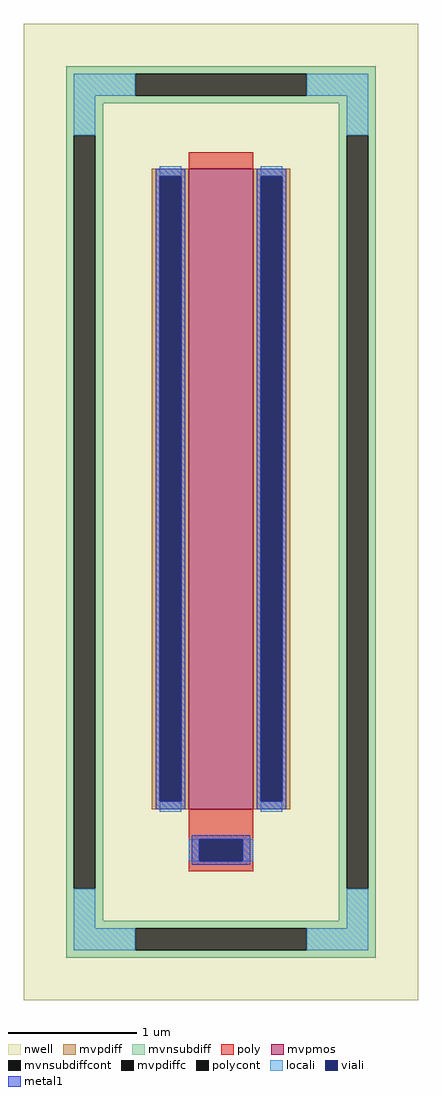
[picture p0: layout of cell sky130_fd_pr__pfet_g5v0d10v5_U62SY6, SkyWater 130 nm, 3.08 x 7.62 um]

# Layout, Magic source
magic
tech sky130A
magscale 1 2
<< nwell >>
rect -308 -762 308 762
<< mvpmos >>
rect -50 -464 50 536
<< mvpdiff >>
rect -108 524 -50 536
rect -108 -452 -96 524
rect -62 -452 -50 524
rect -108 -464 -50 -452
rect 50 524 108 536
rect 50 -452 62 524
rect 96 -452 108 524
rect 50 -464 108 -452
<< mvpdiffc >>
rect -96 -452 -62 524
rect 62 -452 96 524
<< mvnsubdiff >>
rect -242 684 242 696
rect -242 650 -134 684
rect 134 650 242 684
rect -242 638 242 650
rect -242 588 -184 638
rect -242 -588 -230 588
rect -196 -588 -184 588
rect 184 588 242 638
rect -242 -638 -184 -588
rect 184 -588 196 588
rect 230 -588 242 588
rect 184 -638 242 -588
rect -242 -650 242 -638
rect -242 -684 -134 -650
rect 134 -684 242 -650
rect -242 -696 242 -684
<< mvnsubdiffcont >>
rect -134 650 134 684
rect -230 -588 -196 588
rect 196 -588 230 588
rect -134 -684 134 -650
<< poly >>
rect -50 536 50 562
rect -50 -511 50 -464
rect -50 -545 -34 -511
rect 34 -545 50 -511
rect -50 -561 50 -545
<< polycont >>
rect -34 -545 34 -511
<< locali >>
rect -230 650 -134 684
rect 134 650 230 684
rect -230 588 -196 650
rect 196 588 230 650
rect -96 524 -62 540
rect -96 -468 -62 -452
rect 62 524 96 540
rect 62 -468 96 -452
rect -50 -545 -34 -511
rect 34 -545 50 -511
rect -230 -650 -196 -588
rect 196 -650 230 -588
rect -230 -684 -134 -650
rect 134 -684 230 -650
<< viali >>
rect -96 -452 -62 524
rect 62 -452 96 524
rect -34 -545 34 -511
<< metal1 >>
rect -102 524 -56 536
rect -102 -452 -96 524
rect -62 -452 -56 524
rect -102 -464 -56 -452
rect 56 524 102 536
rect 56 -452 62 524
rect 96 -452 102 524
rect 56 -464 102 -452
rect -46 -511 46 -505
rect -46 -545 -34 -511
rect 34 -545 46 -511
rect -46 -551 46 -545
<< properties >>
string FIXED_BBOX -213 -667 213 667
string gencell sky130_fd_pr__pfet_g5v0d10v5
string library sky130
string parameters w 5.0 l 0.5 m 1 nf 1 diffcov 100 polycov 100 guard 1 glc 1 grc 1 gtc 1 gbc 1 tbcov 100 rlcov 100 topc 0 botc 1 poverlap 0 doverlap 1 lmin 0.50 wmin 0.42 compatible {sky130_fd_pr__pfet_01v8  sky130_fd_pr__pfet_01v8_lvt sky130_fd_pr__pfet_01v8_hvt  sky130_fd_pr__pfet_g5v0d10v5} full_metal 1 viasrc 100 viadrn 100 viagate 100 viagb 0 viagr 0 viagl 0 viagt 0
<< end >>
